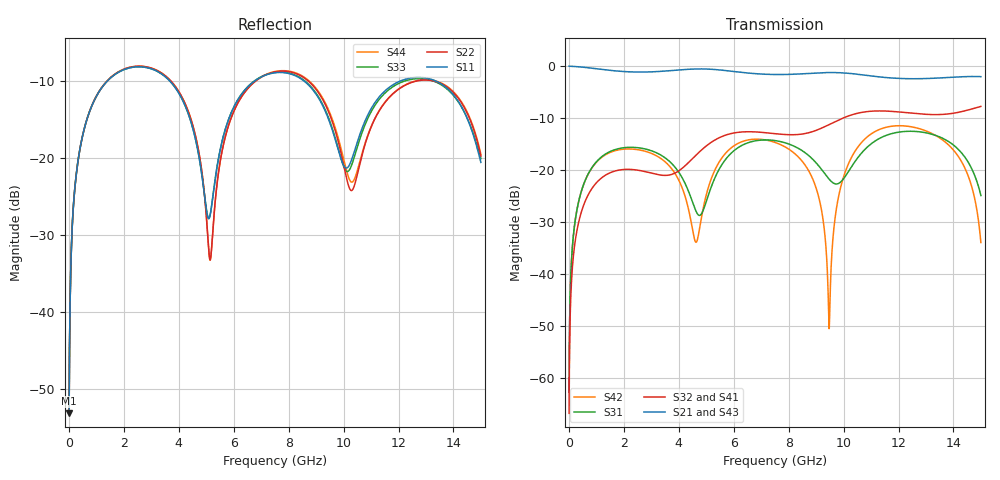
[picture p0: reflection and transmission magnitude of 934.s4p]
! Created with skrf 1.8.0 (http://scikit-rf.org).
# GHz S RI R 50.0
!freq ReS11 ImS11 ReS12 ImS12 ReS13 ImS13
! ReS14 ImS14
! ReS21 ImS21 ReS22 ImS22 ReS23 ImS23
! ReS24 ImS24
! ReS31 ImS31 ReS32 ImS32 ReS33 ImS33
! ReS34 ImS34
! ReS41 ImS41 ReS42 ImS42 ReS43 ImS43
! ReS44 ImS44
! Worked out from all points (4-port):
!   2499 points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, 5 MHz to 15 GHz, reference 50 ohm
!   strongest paths, dB at 5 MHz, 3.476 GHz, 7.19 GHz, 11.1 GHz, 15 GHz:
!     S21: 0.0, -1.0, -1.6, -2.0, -2.0
!     S43: 0.0, -1.0, -1.6, -1.9, -2.0
!     S32: -66.8, -21.0, -12.8, -8.7, -7.8
!     S41: -66.8, -21.0, -12.8, -8.7, -7.8
!     S31: -62.7, -17.6, -14.2, -14.6, -24.9
!     S42: -62.7, -18.3, -14.2, -12.7, -33.9
!   lowest |S11| = -53.2 dB at 5 MHz (marker M1), VSWR 1.00, Z = 50.2 + j0.133 ohm
!   |S11| at or under -10 dB: 3.659 GHz to 6.779 GHz (3.12 GHz wide, 59.8 % of centre); 8.542 GHz to 12.1 GHz (3.558 GHz wide, 34.5 % of centre); 13.33 GHz to end of sweep (the widest 3 of 4)
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0.005  0.00175 0.00133  0.9982 -0.00341  8.95e-05 0.000724  -8.66e-05 -0.00045
       0.9982 -0.00341  0.00175 0.00133  -8.66e-05 -0.00045  8.93e-05 0.000724
       8.95e-05 0.000724  -8.66e-05 -0.00045  0.00175 0.00133  0.9982 -0.00341
       -8.66e-05 -0.00045  8.93e-05 0.000724  0.9982 -0.00341  0.00175 0.00133
1.67  0.3094 0.1557  0.4488 -0.7805  0.1518 0.0404  -0.0971 0.0113
      0.4488 -0.7805  0.3131 0.1525  -0.0972 0.0113  0.1424 0.0571
      0.1518 0.0404  -0.0972 0.0113  0.3094 0.1558  0.4487 -0.7805
      -0.0971 0.0113  0.1424 0.0571  0.4487 -0.7805  0.3132 0.1525
5.139642  0.0411 0.0101  -0.9321 -0.0495  -0.0196 0.0612  -0.0049 0.1817
          -0.9321 -0.0495  0.0217 -0.00144  -0.00416 0.1817  0.0326 0.0696
          -0.0196 0.0612  -0.00416 0.1817  0.0413 0.00998  -0.9321 -0.0493
          -0.0049 0.1817  0.0326 0.0696  -0.9321 -0.0493  0.0216 -0.00148
7.87203  0.3544 -0.0259  -0.0332 0.8298  0.1527 -0.1006  0.2114 -0.0592
         -0.0332 0.8298  0.363 -0.0266  0.2112 -0.0603  0.1558 -0.0598
         0.1527 -0.1006  0.2112 -0.0603  0.3567 -0.0278  -0.0326 0.8287
         0.2114 -0.0592  0.1558 -0.0598  -0.0326 0.8287  0.3658 -0.0252
9.472697  0.134 -0.1106  0.6849 0.5308  -0.0605 -0.0551  0.1614 -0.2209
          0.6849 0.5308  0.1304 -0.1448  0.1607 -0.2218  0.00294 0.000479
          -0.0605 -0.0551  0.1607 -0.2218  0.1333 -0.1174  0.6838 0.5306
          0.1614 -0.2209  0.00294 0.000479  0.6838 0.5306  0.1376 -0.146
11.35473  0.2285 0.1125  0.6887 -0.3754  0.1587 0.1292  -0.2297 -0.2873
          0.6887 -0.3754  0.177 0.1115  -0.233 -0.288  0.2182 0.1194
          0.1587 0.1292  -0.233 -0.288  0.2188 0.112  0.6895 -0.3764
          -0.2297 -0.2873  0.2182 0.1194  0.6895 -0.3764  0.1826 0.1032
15  0.0762 -0.0537  -0.6822 -0.4013  -0.02 -0.0533  -0.196 0.3588
    -0.6822 -0.4013  0.0681 -0.0766  -0.1892 0.3631  0.00949 -0.0177
    -0.02 -0.0533  -0.1892 0.3631  0.0836 -0.0522  -0.6835 -0.3982
    -0.196 0.3588  0.00949 -0.0177  -0.6835 -0.3982  0.0628 -0.0842
